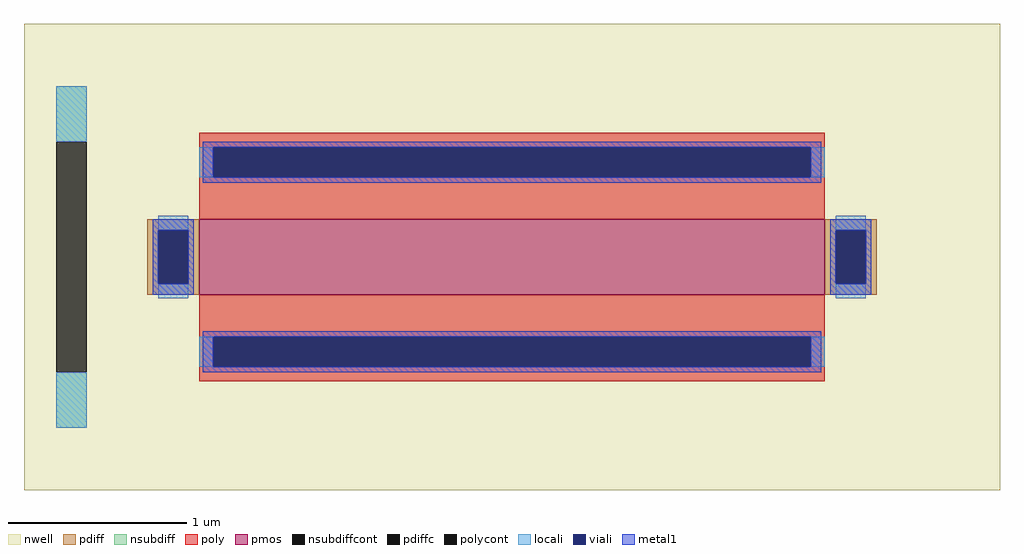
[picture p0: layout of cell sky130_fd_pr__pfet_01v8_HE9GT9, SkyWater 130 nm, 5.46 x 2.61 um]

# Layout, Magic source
magic
tech sky130A
magscale 1 2
<< nwell >>
rect -546 -261 546 261
<< pmos >>
rect -350 -42 350 42
<< pdiff >>
rect -408 30 -350 42
rect -408 -30 -396 30
rect -362 -30 -350 30
rect -408 -42 -350 -30
rect 350 30 408 42
rect 350 -30 362 30
rect 396 -30 408 30
rect 350 -42 408 -30
<< pdiffc >>
rect -396 -30 -362 30
rect 362 -30 396 30
<< nsubdiff >>
rect -510 129 -476 191
rect -510 -191 -476 -129
<< nsubdiffcont >>
rect -510 -129 -476 129
<< poly >>
rect -350 123 350 139
rect -350 89 -334 123
rect 334 89 350 123
rect -350 42 350 89
rect -350 -89 350 -42
rect -350 -123 -334 -89
rect 334 -123 350 -89
rect -350 -139 350 -123
<< polycont >>
rect -334 89 334 123
rect -334 -123 334 -89
<< locali >>
rect -510 129 -476 191
rect -350 89 -334 123
rect 334 89 350 123
rect -396 30 -362 46
rect -396 -46 -362 -30
rect 362 30 396 46
rect 362 -46 396 -30
rect -350 -123 -334 -89
rect 334 -123 350 -89
rect -510 -191 -476 -129
<< viali >>
rect -334 89 334 123
rect -396 -30 -362 30
rect 362 -30 396 30
rect -334 -123 334 -89
<< metal1 >>
rect -346 123 346 129
rect -346 89 -334 123
rect 334 89 346 123
rect -346 83 346 89
rect -402 30 -356 42
rect -402 -30 -396 30
rect -362 -30 -356 30
rect -402 -42 -356 -30
rect 356 30 402 42
rect 356 -30 362 30
rect 396 -30 402 30
rect 356 -42 402 -30
rect -346 -89 346 -83
rect -346 -123 -334 -89
rect 334 -123 346 -89
rect -346 -129 346 -123
<< properties >>
string FIXED_BBOX -493 -208 493 208
string gencell sky130_fd_pr__pfet_01v8
string library sky130
string parameters w 0.42 l 3.5 m 1 nf 1 diffcov 100 polycov 100 guard 1 glc 1 grc 1 gtc 1 gbc 1 tbcov 100 rlcov 100 topc 1 botc 1 poverlap 0 doverlap 1 lmin 0.15 wmin 0.42 compatible {sky130_fd_pr__pfet_01v8  sky130_fd_pr__pfet_01v8_lvt sky130_fd_pr__pfet_01v8_hvt  sky130_fd_pr__pfet_g5v0d10v5} full_metal 1 viasrc 100 viadrn 100 viagate 100 viagb 0 viagr 0 viagl 0 viagt 0
<< end >>
